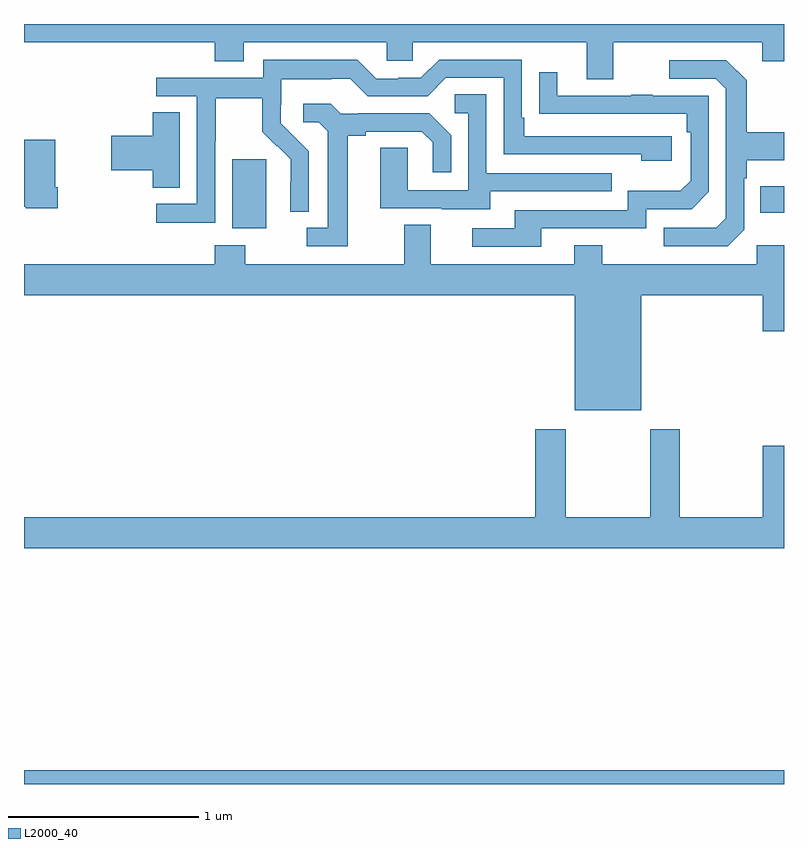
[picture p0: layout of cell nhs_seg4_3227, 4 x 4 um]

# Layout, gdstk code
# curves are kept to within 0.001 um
import gdstk
lib = gdstk.Library(unit=1e-6, precision=1e-09)
def R(c, l, rs):  # rectangles x0, y0, x1, y1
    for r in rs: c.add(gdstk.rectangle(r[:2], r[2:], *l))
def P(c, l, *ps):  # polygons
    for p in ps: c.add(gdstk.Polygon(p, *l))
L2000_40 = (2000, 40)

nhs_seg4_3227 = lib.new_cell('nhs_seg4_3227')
R(nhs_seg4_3227, L2000_40, [(281,808.9,285,808.972), (282.095,811.826,282.274,812.187), (284.875,811.907,285,812.047)])
P(nhs_seg4_3227, L2000_40, [(281,812.804),(282.005,812.804),(282.005,812.705),(282.157,812.705),(282.157,812.804),(282.909,812.804),(282.909,812.706),(283.047,812.706),(283.047,812.804),(283.961,812.804),(283.961,812.61),(284.101,812.61),(284.101,812.804),(284.885,812.804),(284.885,812.705),(285,812.705),(285,812.9),(281,812.9)],
  [(282.006,812.284),(282.009,812.284),(282.009,812.508),(282.253,812.508),(282.253,812.333),(282.33,812.256),(282.333,812.259),(282.404,812.189),(282.404,812.066),(282.402,812.066),(282.402,811.912),(282.498,811.912),(282.498,812.23),(282.352,812.378),(282.352,812.475),(282.354,812.475),(282.354,812.609),(282.617,812.609),(282.617,812.613),(282.717,812.613),(282.81,812.52),(283.125,812.52),(283.221,812.616),(283.524,812.616),(283.524,812.214),(284.249,812.214),(284.249,812.18),(284.41,812.18),(284.41,812.31),(283.633,812.31),(283.633,812.407),(283.62,812.407),(283.62,812.712),(283.185,812.712),(283.089,812.616),(282.971,812.616),(282.971,812.613),(282.855,812.613),(282.755,812.713),(282.258,812.713),(282.258,812.616),(281.697,812.616),(281.697,812.52),(281.91,812.52),(281.91,811.953),(281.697,811.953),(281.697,811.855),(282.006,811.855)],
  [(284.79,811.818),(284.79,812.087),(284.803,812.087),(284.803,812.183),(285,812.183),(285,812.331),(284.803,812.331),(284.803,812.603),(284.697,812.709),(284.397,812.709),(284.397,812.613),(284.64,812.613),(284.694,812.559),(284.694,811.878),(284.643,811.827),(284.367,811.827),(284.367,811.731),(284.703,811.731)],
  [(283.723,811.824),(284.274,811.824),(284.274,811.926),(284.514,811.926),(284.604,812.016),(284.604,812.523),(284.309,812.523),(284.309,812.528),(284.197,812.528),(284.197,812.523),(283.807,812.523),(283.807,812.647),(283.711,812.647),(283.711,812.428),(284.488,812.427),(284.488,812.33),(284.508,812.33),(284.508,812.076),(284.455,812.023),(284.178,812.023),(284.178,811.92),(283.583,811.92),(283.583,811.824),(283.359,811.824),(283.359,811.728),(283.723,811.728)],
  [(283.453,812.019),(284.093,812.019),(284.093,812.115),(283.434,812.115),(283.434,812.531),(283.266,812.531),(283.266,812.43),(283.338,812.43),(283.338,812.025),(283.02,812.025),(283.02,812.249),(282.875,812.249),(282.875,811.929),(283.199,811.929),(283.199,811.925),(283.453,811.925)],
  [(282.703,812.312),(282.799,812.312),(282.799,812.334),(283.094,812.334),(283.151,812.277),(283.151,812.121),(283.248,812.121),(283.248,812.314),(283.132,812.43),(282.76,812.43),(282.76,812.427),(282.666,812.427),(282.614,812.479),(282.471,812.479),(282.471,812.382),(282.552,812.382),(282.599,812.335),(282.599,811.827),(282.489,811.827),(282.489,811.731),(282.703,811.731)],
  [(281.821,812.435),(281.678,812.435),(281.678,812.312),(281.46,812.312),(281.46,812.129),(281.678,812.129),(281.678,812.038),(281.821,812.038)],
  [(281.177,812.041),(281.164,812.041),(281.164,812.29),(281,812.29),(281,811.938),(281.01,811.938),(281.01,811.93),(281.177,811.93)],
  [(283.895,811.636),(283.141,811.636),(283.141,811.844),(283.001,811.844),(283.001,811.636),(282.165,811.636),(282.165,811.735),(282.005,811.735),(282.005,811.636),(281,811.636),(281,811.472),(283.898,811.472),(283.898,810.866),(284.248,810.866),(284.248,811.472),(284.888,811.472),(284.888,811.284),(285,811.284),(285,811.735),(284.856,811.735),(284.856,811.636),(284.043,811.636),(284.043,811.735),(283.895,811.735)],
  [(285,810.679),(284.888,810.679),(284.888,810.304),(284.451,810.304),(284.451,810.766),(284.296,810.766),(284.296,810.304),(283.851,810.304),(283.851,810.766),(283.691,810.766),(283.691,810.304),(281,810.304),(281,810.14),(285,810.14)])

lib.write_gds('nhs_seg4_3227.gds')
